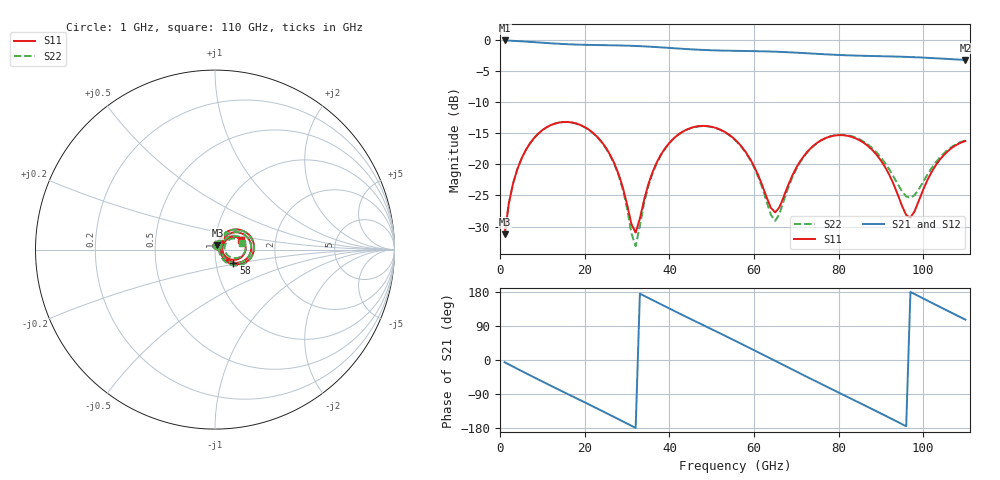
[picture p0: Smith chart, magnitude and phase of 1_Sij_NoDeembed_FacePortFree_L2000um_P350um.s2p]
! Touchstone file exported from HFSS 2024.2.0
!  File:  C:/Users/vaintrug/Documents/Ansoft_Workspace/Comparaison_Calculs_HFSS/1_VarPort.aedt
!  Generated:  03:22:19 PM Jan 21, 2025
!  Design:  1_NoDeembed_FacePortFree
!  Project:  1_VarPort
!  Setup:  Setup1
!  Solution:  Sweep
! Variables:
!  $Lenght = 2000um
!  $PortSize = 350um
!  Gap = 30um
!  Th = 2um
!  X_centralStrip = 20um
!  X_masse = 200um
!  Y_Sub = 2mm
!  Z_Box = 400um
!  Z_Sub = 200um
# GHz S MA R 50.000000
! Terminal data exported
! Port[1] = 1
! Port[2] = 2
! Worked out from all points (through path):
!   110 points, 1 GHz to 110 GHz, reference 50 ohm
!   highest |S21| = -0.13 dB at 1 GHz (marker M1); lowest = -3.3 dB at 110 GHz (marker M2)
!   group delay of S21, straight-line fit = 15.4 ps
!   lowest |S11| = -31.3 dB at 1 GHz (marker M3), VSWR 1.06, Z = 51.3 + j2.45 ohm
!   |S11| at or under -10 dB: start of sweep to end of sweep
!   |S22| runs from -33.2 to -13.2 dB; largest |S21 - S12| = 1.6e-14
!   S11 on the Smith chart (normalised r, x): 1 GHz: 1.03, +0.05; 58 GHz: 1.22, -0.18; 110 GHz: 1.33, +0.14
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1  0.02732 60.9  0.9854 -5.9  0.9854 -5.9  0.02733 60.9
! Gamma 6.15761897514119 50.4443723949366 5.9198626465306 49.8543242841637
! Port Impedance 50 0 50 0
3  0.07003 65.7  0.9783 -17.4  0.9783 -17.4  0.07004 65.5
7  0.147 48.9  0.9602 -40.3  0.9602 -40.3  0.147 48.5
13  0.2125 18.4  0.9304 -73.7  0.9304 -73.7  0.2123 17.6
20  0.1983 -16.3  0.9092 -112.1  0.9092 -112.1  0.1977 -17.9
27  0.1008 -44.7  0.9001 -150.9  0.9001 -150.9  0.09924 -48.4
32  0.02826 9.0  0.8898 -179.2  0.8898 -179.2  0.02199 10.6
35  0.06909 52.9  0.8797 163.8  0.8797 163.8  0.0669 57.2
38  0.1198 47.9  0.8672 146.9  0.8672 146.9  0.1186 49.9
43  0.1816 27.6  0.8449 119.2  0.8449 119.2  0.1809 28.3
47  0.2023 9.7  0.83 97.3  0.83 97.3  0.2017 9.7
51  0.1956 -8.1  0.8199 75.6  0.8199 75.6  0.1949 -8.6
56  0.1519 -28.5  0.813 48.2  0.813 48.2  0.1509 -29.8
58  0.1257 -35.0  0.811 37.1  0.811 37.1  0.1243 -36.8
65  0.04108 2.0  0.8006 -2.2  0.8006 -2.2  0.03513 2.5
70  0.09382 40.1  0.7864 -30.4  0.7864 -30.4  0.09158 44.1
74  0.1404 29.8  0.7726 -52.8  0.7726 -52.8  0.1396 33.0
83  0.1663 -6.4  0.747 -102.3  0.747 -102.3  0.1683 -2.8
92  0.08225 -34.3  0.7339 -152.3  0.7339 -152.3  0.09079 -26.3
97  0.03735 10.6  0.7252 179.5  0.7252 179.5  0.05363 6.6
103  0.09822 43.6  0.7091 145.6  0.7091 145.6  0.1036 34.2
110  0.1537 20.1  0.6872 106.5  0.6872 106.5  0.1552 14.2
